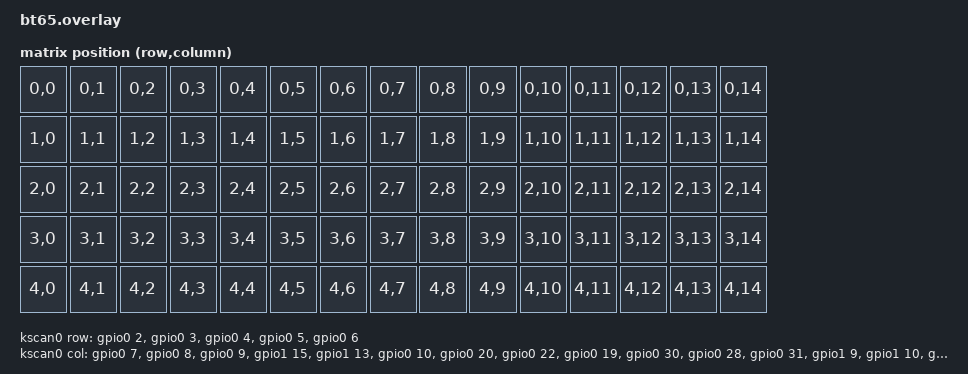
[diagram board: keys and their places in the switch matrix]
/*
 * BT65 68键键盘 - Nice!Nano (nRF52840) 设备树定义
 *
 * ⚠️ 重要提示：以下 GPIO 引脚为示例占位符！
 *    你需要根据实际 PCB 矩阵接线来修改 row-gpios 和 col-gpios 的值。
 *
 * 引脚编号参考 (Nice!Nano v2):
 *   P0.XX -> &gpio0 XX
 *   P1.XX -> &gpio1 XX
 *
 * Nice!Nano v2 可用引脚示例：
 *   P0.02 (D3),  P0.03 (D4),  P0.04 (D5),  P0.05 (D6),
 *   P0.06 (D7),  P0.07 (D8),  P0.08 (D9),  P0.09 (D10),
 *   P1.15 (D15), P1.13 (D14), P0.10 (RX),  P0.20 (TX),
 *   P0.22 (D20), P0.19 (D19), P0.30 (D18), P0.28 (D17),
 *   P0.31 (D16), P0.12 (MISO), P0.13 (MOSI), P0.15 (SCK)
 *   P0.17 (A0),  P0.20 (A1),  P0.15 (A2),  P0.13 (A3),
 *   P0.24 (A4),  P0.25 (A5),  P0.26 (A6),  P0.27 (A7)
 *
 * RGB 相关引脚（示例，请根据实际接线修改）：
 *   ⚠️ rgb-dat-pin   - WS2812 数据输入引脚（示例：P0.17/A0）
 *   ⚠️ rgb-pwr-pin   - RGB 电源控制引脚（高电平开启供电，示例：P0.27/A7）
 *
 * LED 指示灯引脚（示例，请根据实际接线修改）：
 *   ⚠️ chg_led_pin  - 充电指示灯引脚（示例：P0.24/A4，低电平亮）
 *   ⚠️ out_led_pin  - 输出模式指示灯引脚（示例：P0.26/A6，低电平亮）
 *                       蓝牙连接时闪烁，USB连接时常亮，未连接时熄灭
 */

#include <dt-bindings/zmk/matrix_transform.h>

/ {
    chosen {
        zmk,kscan = &kscan0;
        zmk,physical-layout = &default_layout;
    };

    /* ====================================================
     * ⚠️ 以下引脚是示例值！
     *    请根据你的实际 PCB 走线修改 row-gpios 和 col-gpios
     *
     * 假设：5行 R0-R4，15列 C0-C14
     * ==================================================== */
    kscan0: kscan {
        compatible = "zmk,kscan-gpio-matrix";
        label = "KSCAN";

        diode-direction = "col2row";
            /* 二极管方向：col2row = 列到行（最常见）
             * 如果实际是 row2col，请修改 */

        /* ⚠️ 行引脚 - 请根据实际接线修改 */
        row-gpios
            = <&gpio0 2 (GPIO_ACTIVE_HIGH | GPIO_PULL_DOWN)>   // R0: P0.02 (D3)
            , <&gpio0 3 (GPIO_ACTIVE_HIGH | GPIO_PULL_DOWN)>   // R1: P0.03 (D4)
            , <&gpio0 4 (GPIO_ACTIVE_HIGH | GPIO_PULL_DOWN)>   // R2: P0.04 (D5)
            , <&gpio0 5 (GPIO_ACTIVE_HIGH | GPIO_PULL_DOWN)>   // R3: P0.05 (D6)
            , <&gpio0 6 (GPIO_ACTIVE_HIGH | GPIO_PULL_DOWN)>   // R4: P0.06 (D7)
            ;

        /* ⚠️ 列引脚 - 请根据实际接线修改 */
        col-gpios
            = <&gpio0 7  GPIO_ACTIVE_HIGH>   // C0: P0.07 (D8)
            , <&gpio0 8  GPIO_ACTIVE_HIGH>   // C1: P0.08 (D9)
            , <&gpio0 9  GPIO_ACTIVE_HIGH>   // C2: P0.09 (D10)
            , <&gpio1 15 GPIO_ACTIVE_HIGH>   // C3: P1.15 (D15)
            , <&gpio1 13 GPIO_ACTIVE_HIGH>   // C4: P1.13 (D14)
            , <&gpio0 10 GPIO_ACTIVE_HIGH>   // C5: P0.10 (RX)
            , <&gpio0 20 GPIO_ACTIVE_HIGH>   // C6: P0.20 (TX)
            , <&gpio0 22 GPIO_ACTIVE_HIGH>   // C7: P0.22 (D20)
            , <&gpio0 19 GPIO_ACTIVE_HIGH>   // C8: P0.19 (D19)
            , <&gpio0 30 GPIO_ACTIVE_HIGH>   // C9: P0.30 (D18)
            , <&gpio0 28 GPIO_ACTIVE_HIGH>   // C10: P0.28 (D17)
            , <&gpio0 31 GPIO_ACTIVE_HIGH>   // C11: P0.31 (D16)
            , <&gpio1 9  GPIO_ACTIVE_HIGH>   // C12: P1.09 (A2)
            , <&gpio1 10 GPIO_ACTIVE_HIGH>   // C13: P1.10 (A3)
            , <&gpio1 11 GPIO_ACTIVE_HIGH>   // C14: P1.11 (A4)
            ;
    };

    /* ====================================================
     * WS2812 RGB LED 定义
     *
     * ⚠️ chain-length：根据实际灯珠数量修改
     * ⚠️ rgb-dat-pin：根据实际连接的 GPIO 修改
     * ==================================================== */
    leds: leds {
        compatible = "zmk,underglow";
        label = "RGB_LED";
        chain-length = <68>;                  /* ⚠️ 灯珠数量，请按实际修改 */
        rgb-dat-pin = <&gpio0 17>;            /* ⚠️ WS2812 数据引脚 示例P0.17(A0)，请按实际修改 */
    };

    /* ====================================================
     * RGB 电源控制 GPIO
     * 用一个 GPIO 控制 MOSFET/VREG 给 RGB 供电
     *
     * ⚠️ gpios 引脚需根据实际接线修改
     *    GPIO_ACTIVE_HIGH = 高电平开启供电
     *    如果电路是低电平开启供电，改为 GPIO_ACTIVE_LOW
     * ⚠️ 如果不需要电源控制，可以删除此节点
     * ==================================================== */
    rgb_pwr: rgb_power {
        compatible = "zmk,output-gpio";
        label = "RGB_POWER";
        gpios = <&gpio0 27 GPIO_ACTIVE_HIGH>; /* ⚠️ RGB 电源控制引脚 示例P0.27(A7)，请按实际修改 */
        init-high;                             /* 上电默认开启 RGB 供电 */
    };

    /* ====================================================
     * LED 指示灯（使用 zmk,output-gpio 控制）
     *
     * ⚠️ 以下引脚均为示例值！
     *    请根据实际 PCB 设计修改 gpios 引脚
     *
     * 用法（在 keymap 中）：
     *   &chg_led TOGGLE  — 切换充电指示灯
     *   &out_led ON      — 开启输出模式指示灯
     *   &out_led OFF     — 关闭输出模式指示灯
     * ==================================================== */

    /* 充电指示灯 — 低电平亮 */
    chg_led: chg_led {
        compatible = "zmk,output-gpio";
        label = "CHG_LED";
        gpios = <&gpio0 24 GPIO_ACTIVE_LOW>;  /* ⚠️ 示例P0.24(A4)，请按实际修改 */
    };

    /* 输出模式指示灯（蓝牙/USB状态）— 低电平亮 */
    out_led: out_led {
        compatible = "zmk,output-gpio";
        label = "OUT_LED";
        gpios = <&gpio0 26 GPIO_ACTIVE_LOW>;  /* ⚠️ 示例P0.26(A6)，请按实际修改 */
    };

    /* ====================================================
     * 矩阵变换 - 将物理按键位置映射到矩阵行列
     *
     * 68键布局（5行 x 15列），物理排布如下：
     *
     * Row 0: Esc(0,0)  1(0,1)  2(0,2)  3(0,3)  4(0,4)  5(0,5)  6(0,6)  7(0,7)  8(0,8)  9(0,9)  0(0,10) -(0,11) =(0,12) Bspc(0,13) `(0,14)
     * Row 1: Tab(1,0)  Q(1,1)  W(1,2)  E(1,3)  R(1,4)  T(1,5)  Y(1,6)  U(1,7)  I(1,8)  O(1,9)  P(1,10) [(1,11) ](1,12) \(1,13)  Del(1,14)
     * Row 2: Caps(2,0) A(2,1)  S(2,2)  D(2,3)  F(2,4)  G(2,5)  H(2,6)  J(2,7)  K(2,8)  L(2,9)  ;(2,10)  '(2,11) Enter(2,12)        PgUp(2,14)
     * Row 3: Shift(3,0)Z(3,1)  X(3,2)  C(3,3)  V(3,4)  B(3,5)  N(3,6)  M(3,7)  ,(3,8)  .(3,9)  /(3,10)  Shift(3,11) ↑(3,13)      PgDn(3,14)
     * Row 4: Ctrl(4,0) GUI(4,1) Alt(4,2)        Space(4,3~4,9)             Alt(4,10) Fn(4,11) Ctrl(4,12)  ←(4,13) ↓(4,14) →(4,15*)
     *
     * ⚠️ 注意：C13~C15 列仅用于右侧功能键和方向键区域
     * ==================================================== */
    default_transform: keymap_transform0 {
        compatible = "zmk,matrix-transform";
        columns = <15>;
        rows = <5>;
        map = <
            RC(0,0)  RC(0,1)  RC(0,2)  RC(0,3)  RC(0,4)  RC(0,5)  RC(0,6)  RC(0,7)  RC(0,8)  RC(0,9)  RC(0,10) RC(0,11) RC(0,12) RC(0,13) RC(0,14)
            RC(1,0)  RC(1,1)  RC(1,2)  RC(1,3)  RC(1,4)  RC(1,5)  RC(1,6)  RC(1,7)  RC(1,8)  RC(1,9)  RC(1,10) RC(1,11) RC(1,12) RC(1,13) RC(1,14)
            RC(2,0)  RC(2,1)  RC(2,2)  RC(2,3)  RC(2,4)  RC(2,5)  RC(2,6)  RC(2,7)  RC(2,8)  RC(2,9)  RC(2,10) RC(2,11) RC(2,12) RC(2,13) RC(2,14)
            RC(3,0)  RC(3,1)  RC(3,2)  RC(3,3)  RC(3,4)  RC(3,5)  RC(3,6)  RC(3,7)  RC(3,8)  RC(3,9)  RC(3,10) RC(3,11) RC(3,12) RC(3,13) RC(3,14)
            RC(4,0)  RC(4,1)  RC(4,2)  RC(4,3)  RC(4,4)  RC(4,5)  RC(4,6)  RC(4,7)  RC(4,8)  RC(4,9)  RC(4,10) RC(4,11) RC(4,12) RC(4,13) RC(4,14)
        >;
    };

    /* 物理布局定义 */
    default_layout: default_layout {
        compatible = "zmk,physical-layout";
        display-name = "Default Layout";
        transform = <&default_transform>;
        kscan = <&kscan0>;
    };

    /* ====================================================
     * ZMK Studio 解锁配置
     *
     * Studio 通过 USB 连接后默认锁定，需要物理按键解锁
     * 此处定义使用 N 和 M 键同时按下作为解锁组合
     *（选择字母区中间位置，方便操作且不易误触）
     *
     * ⚠️ 请根据实际矩阵接线修改 row/col 值！
     * 默认假设：
     *   N 键在 Row3, Col6
     *   M 键在 Row3, Col7
     * ==================================================== */
    studio_unlock: studio_unlock {
        compatible = "zmk,studio-unlock";
        label = "STUDIO_UNLOCK";
        /* 同时按下以下两个键解锁 Studio */
        row = <3>;
        col = <6>;
        /* 第二个键 */
        row2 = <3>;
        col2 = <7>;
    };
};
